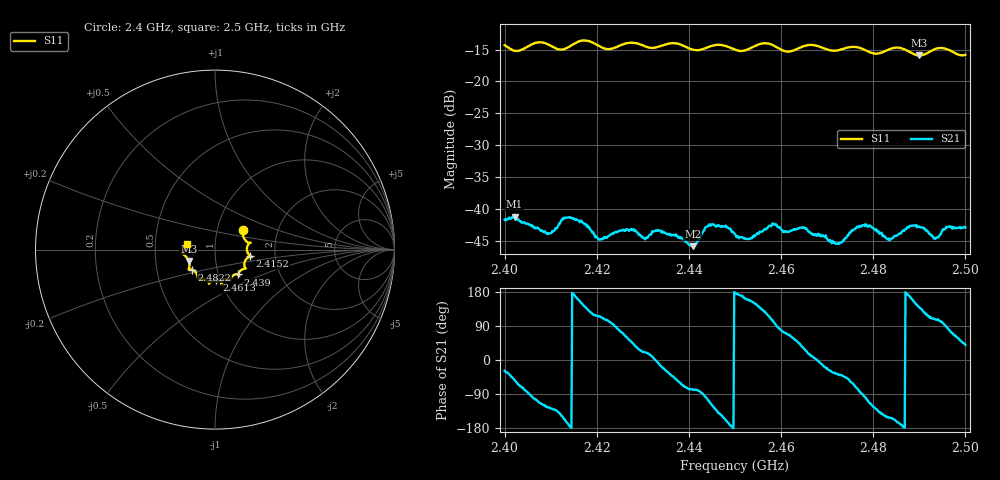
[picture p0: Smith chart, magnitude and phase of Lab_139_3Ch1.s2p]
# Hz S RI R 50
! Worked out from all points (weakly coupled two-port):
!   601 points, 2.4 GHz to 2.5 GHz, reference 50 ohm
!   highest |S21| = -41.22 dB at 2.4022 GHz (marker M1); lowest = -45.8 dB at 2.4408 GHz (marker M2)
!   lowest |S11| = -15.9 dB at 2.49 GHz (marker M3), VSWR 1.38, Z = 36.9 - j4.79 ohm
!   |S11| at or under -10 dB: start of sweep to end of sweep
!   S12 and S22 are empty: the file has one direction only
!   S11 on the Smith chart (normalised r, x): 2.4 GHz: 1.33, +0.31; 2.4152 GHz: 1.48, -0.11; 2.439 GHz: 1.24, -0.36; 2.4613 GHz: 0.96, -0.34; 2.4822 GHz: 0.76, -0.17; 2.5 GHz: 0.73, +0.05
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2.4e9  0.1566 0.1119  0.00725 -0.00393  0 0  0 0
2.402167e9  0.1565 0.076  0.00518 -0.00698  0 0  0 0
2.409667e9  0.1901 0.0344  -0.00376 -0.00521  0 0  0 0
2.415167e9  0.1947 -0.0366  -0.00819 0.00124  0 0  0 0
2.416667e9  0.2043 -0.0422  -0.00704 0.00403  0 0  0 0
2.420667e9  0.1823 -0.0457  -0.00243 0.0052  0 0  0 0
2.433333e9  0.1322 -0.1318  0.00673 -0.000909  0 0  0 0
2.439e9  0.1284 -0.1387  0.00187 -0.00535  0 0  0 0
2.440833e9  0.1109 -0.1383  0.00113 -0.00498  0 0  0 0
2.444833e9  0.0846 -0.1694  -0.00335 -0.00675  0 0  0 0
2.45e9  0.069 -0.1634  -0.00634 0.000302  0 0  0 0
2.453167e9  0.0383 -0.1766  -0.00533 0.00233  0 0  0 0
2.4585e9  0.0373 -0.1868  -0.00114 0.00746  0 0  0 0
2.461333e9  0.00771 -0.1711  0.00243 0.00614  0 0  0 0
2.466667e9  -0.0336 -0.1904  0.00625 0.00107  0 0  0 0
2.472333e9  -0.07 -0.1607  0.00424 -0.00321  0 0  0 0
2.478167e9  -0.0977 -0.1471  -0.000898 -0.0075  0 0  0 0
2.482167e9  -0.1284 -0.1117  -0.00509 -0.00357  0 0  0 0
2.483333e9  -0.1397 -0.11  -0.00519 -0.00273  0 0  0 0
2.49e9  -0.1467 -0.0631  -0.00548 0.0048  0 0  0 0
2.493667e9  -0.179 -0.0244  -0.00171 0.00572  0 0  0 0
2.5e9  -0.1583 0.0333  0.00548 0.00461  0 0  0 0
